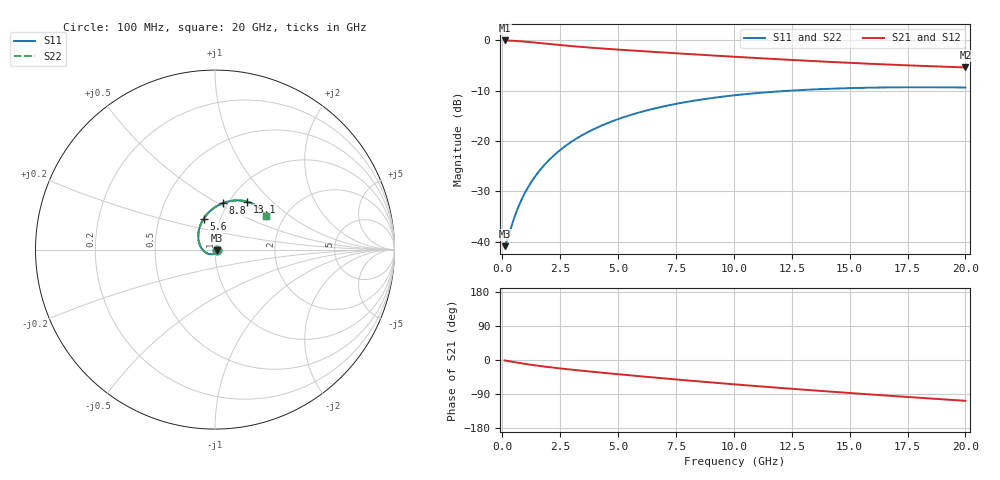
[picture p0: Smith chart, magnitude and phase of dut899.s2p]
! Touchstone file exported from HFSS 2024.1.0
!  File:  C:/UserFiles/LocalFiles/RDL_TSV_Batchsim/temp_RDL_TSV_899_1779934474.aedt
!  Generated:  10:24:55 AM May 28, 2026
!  Design:  RDL_TSV
!  Project:  temp_RDL_TSV_899_1779934474
!  Setup:  Setup1
!  Solution:  Sweep
! Variables:
!  dtsv = 12.75um
!  hbump = 3um
!  htsv = 57.46um
!  ldown = 187.68um
!  lrdl = 200.29um
!  p = 40
!  p1 = 51.11um
!  rhole = 10um
!  subl = 1364.2um
!  t = 450um
!  tdown = 4.25um
!  trdl = 2.04um
!  viad = 10um
!  wdown = 22.7um
!  wrdl = 24.8um
!  xbump = 18um
# GHz S MA R 50.000000
! Terminal data exported
! Port[1] = TM1_1_T1
! Port[2] = TM1_4_T1
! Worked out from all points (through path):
!   200 points, 100 MHz to 20 GHz, reference 50 ohm
!   highest |S21| = -0.08 dB at 100 MHz (marker M1); lowest = -5.4 dB at 20 GHz (marker M2)
!   group delay of S21, straight-line fit = 14.1 ps
!   lowest |S11| = -40.8 dB at 100 MHz (marker M3), VSWR 1.02, Z = 50.8 - j0.348 ohm
!   |S11| at or under -10 dB: start of sweep to 12.53 GHz
!   |S22| runs from -40.8 to -9.3 dB; largest |S21 - S12| = 1.1e-14
!   S11 on the Smith chart (normalised r, x): 100 MHz: 1.02, -0.01; 5.6 GHz: 0.83, +0.30; 8.8 GHz: 0.95, +0.52; 13.1 GHz: 1.20, +0.72; 20 GHz: 1.62, +0.68
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0.1  0.00908 -22.1  0.9909 -1.1  0.9909 -1.1  0.00908 -22.1
! Gamma 0 0 0 0
! Port Impedance 50 0 50 0
0.2  0.01034 -41.8  0.9898 -2.2  0.9898 -2.2  0.01034 -41.8
0.4  0.01443 -71.9  0.9856 -4.4  0.9856 -4.4  0.01443 -71.9
0.6  0.01959 -93.6  0.9797 -6.5  0.9797 -6.5  0.01959 -93.6
0.8  0.02527 -110.6  0.9723 -8.5  0.9723 -8.5  0.02528 -110.6
1.1  0.03439 -131.1  0.9591 -11.3  0.9591 -11.3  0.03439 -131.1
1.4  0.044 -147.9  0.9445 -14.0  0.9445 -14.0  0.044 -147.9
1.8  0.05734 -166.4  0.9244 -17.2  0.9244 -17.2  0.05734 -166.4
2.3  0.0745 175.0  0.9004 -20.9  0.9004 -20.9  0.07449 175.0
2.9  0.09529 157.4  0.8744 -24.9  0.8744 -24.9  0.09528 157.4
3.5  0.1159 143.4  0.8517 -28.7  0.8517 -28.7  0.1159 143.5
4.5  0.149 125.4  0.819 -34.6  0.819 -34.6  0.1489 125.4
5.6  0.1828 110.3  0.7878 -40.9  0.7878 -40.9  0.1827 110.4
6.8  0.2159 97.4  0.7569 -47.6  0.7569 -47.6  0.2159 97.4
7.8  0.2403 88.5  0.7327 -52.9  0.7327 -52.9  0.2402 88.5
8.8  0.2616 80.7  0.7098 -58.1  0.7098 -58.1  0.2615 80.7
10.1  0.2849 72.0  0.6816 -64.6  0.6816 -64.6  0.2849 72.0
11.5  0.3048 64.0  0.6536 -71.4  0.6536 -71.4  0.3047 64.0
13.1  0.3215 56.1  0.6246 -78.7  0.6246 -78.7  0.3214 56.1
13.4  0.3239 54.8  0.6196 -80.1  0.6196 -80.1  0.3239 54.8
16.7  0.3397 42.3  0.5714 -94.3  0.5714 -94.3  0.3396 42.3
20  0.3386 33.1  0.5359 -107.7  0.5359 -107.7  0.3385 33.1
